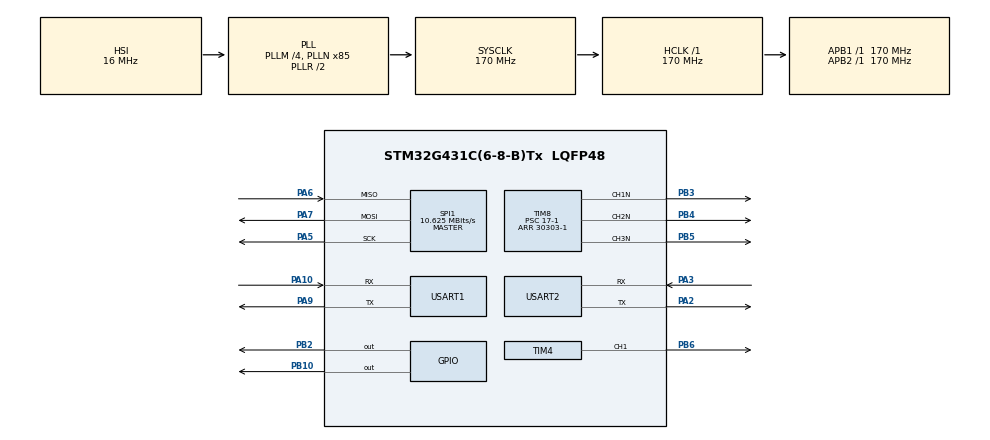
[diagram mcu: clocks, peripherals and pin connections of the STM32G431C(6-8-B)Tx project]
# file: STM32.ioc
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Dma.Request0=USART1_RX
Dma.USART1_RX.0.Direction=DMA_PERIPH_TO_MEMORY
Dma.USART1_RX.0.EventEnable=DISABLE
Dma.USART1_RX.0.Instance=DMA1_Channel1
Dma.USART1_RX.0.MemDataAlignment=DMA_MDATAALIGN_BYTE
Dma.USART1_RX.0.MemInc=DMA_MINC_ENABLE
Dma.USART1_RX.0.Mode=DMA_CIRCULAR
Dma.USART1_RX.0.PeriphDataAlignment=DMA_PDATAALIGN_BYTE
Dma.USART1_RX.0.PeriphInc=DMA_PINC_DISABLE
Dma.USART1_RX.0.Polarity=HAL_DMAMUX_REQ_GEN_RISING
Dma.USART1_RX.0.Priority=DMA_PRIORITY_LOW
Dma.USART1_RX.0.RequestNumber=1
Dma.USART1_RX.0.SignalID=NONE
Dma.USART1_RX.0.SyncEnable=DISABLE
Dma.USART1_RX.0.SyncPolarity=HAL_DMAMUX_SYNC_NO_EVENT
Dma.USART1_RX.0.SyncRequestNumber=1
Dma.USART1_RX.0.SyncSignalID=NONE
Mcu.Family=STM32G4
Mcu.Name=STM32G431C(6-8-B)Tx
Mcu.Package=LQFP48
NVIC.DMA1_Channel1_IRQn=true\:0\:0\:false\:false\:true\:false\:true\:true
NVIC.PriorityGroup=NVIC_PRIORITYGROUP_4
NVIC.USART1_IRQn=true\:0\:0\:false\:false\:true\:true\:true\:true
PA10.Mode=Asynchronous
PA10.Signal=USART1_RX
PA13.Mode=Serial_Wire
PA13.Signal=SYS_JTMS-SWDIO
PA14.Mode=Serial_Wire
PA14.Signal=SYS_JTCK-SWCLK
PA2.Mode=Asynchronous
PA2.Signal=USART2_TX
PA3.Mode=Asynchronous
PA3.Signal=USART2_RX
PA5.Mode=Full_Duplex_Master
PA5.Signal=SPI1_SCK
PA6.Mode=Full_Duplex_Master
PA6.Signal=SPI1_MISO
PA7.Mode=Full_Duplex_Master
PA7.Signal=SPI1_MOSI
PA9.Mode=Asynchronous
PA9.Signal=USART1_TX
PB10.Signal=GPIO_Output
PB2.Signal=GPIO_Output
PB3.Mode=PWM Generation1 CH1N
PB3.Signal=TIM8_CH1N
PB4.Mode=PWM Generation2 CH2N
PB4.Signal=TIM8_CH2N
PB5.Mode=PWM Generation3 CH3N
PB5.Signal=TIM8_CH3N
PB6.Signal=S_TIM4_CH1
PF0-OSC_IN.Mode=HSE-External-Oscillator
PF0-OSC_IN.Signal=RCC_OSC_IN
PF1-OSC_OUT.Mode=HSE-External-Oscillator
PF1-OSC_OUT.Signal=RCC_OSC_OUT
ProjectManager.HeapSize=0x200
ProjectManager.StackSize=0x400
ProjectManager.TargetToolchain=CMake
RCC.ADC12Freq_Value=170000000
RCC.AHBFreq_Value=170000000
RCC.APB1Freq_Value=170000000
RCC.APB1TimFreq_Value=170000000
RCC.APB2Freq_Value=170000000
RCC.APB2TimFreq_Value=170000000
RCC.CortexFreq_Value=170000000
RCC.EXTERNAL_CLOCK_VALUE=12288000
RCC.HCLKFreq_Value=170000000
RCC.HSE_VALUE=12000000
RCC.HSI48_VALUE=48000000
RCC.HSI_VALUE=16000000
RCC.LSE_VALUE=32768
RCC.PLLM=RCC_PLLM_DIV4
RCC.PLLN=85
RCC.SYSCLKFreq_VALUE=170000000
RCC.SYSCLKSource=RCC_SYSCLKSOURCE_PLLCLK
RCC.USBFreq_Value=170000000
RCC.VCOOutputFreq_Value=340000000
SH.S_TIM4_CH1.0=TIM4_CH1,PWM Generation1 CH1
SPI1.BaudRatePrescaler=SPI_BAUDRATEPRESCALER_16
SPI1.CalculateBaudRate=10.625 MBits/s
SPI1.DataSize=SPI_DATASIZE_8BIT
SPI1.Direction=SPI_DIRECTION_2LINES
SPI1.Mode=SPI_MODE_MASTER
SPI1.VirtualType=VM_MASTER
TIM4.Channel-PWM\ Generation1\ CH1=TIM_CHANNEL_1
TIM4.PeriodNoDither=30303-1
TIM4.Prescaler=17-1
TIM8.Channel-PWM\ Generation1\ CH1N=TIM_CHANNEL_1
TIM8.Channel-PWM\ Generation2\ CH2N=TIM_CHANNEL_2
TIM8.Channel-PWM\ Generation3\ CH3N=TIM_CHANNEL_3
TIM8.PeriodNoDither=30303-1
TIM8.Prescaler=17-1
USART1.VirtualMode-Asynchronous=VM_ASYNC
USART2.VirtualMode-Asynchronous=VM_ASYNC
VP_SYS_VS_DBSignals.Mode=DisableDeadBatterySignals
board=custom

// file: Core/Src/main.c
/* USER CODE BEGIN Header */
/**
  ******************************************************************************
  * @file           : main.c
  * @brief          : Main program body
  ******************************************************************************
  * @attention
  *
  * Copyright (c) 2026 STMicroelectronics.
  * All rights reserved.
  *
  * This software is licensed under terms that can be found in the LICENSE file
  * in the root directory of this software component.
  * If no LICENSE file comes with this software, it is provided AS-IS.
  *
  ******************************************************************************
  */
/* USER CODE END Header */
#include "main.h"
#include "dma.h"
#include "spi.h"
#include "tim.h"
#include "usart.h"
#include "gpio.h"

/* USER CODE BEGIN Includes */
#include "control_mixer.h"
#include "guidance_controller.h"
#include "guidance_planner.h"
#include "green_light_task.hpp"
#include "esp32_link.h"
#include "imu.h"
#include "interface.h"
#include "pixel_delta_pid_action.hpp"
#include "servo.h"
/* USER CODE END Includes */

/* USER CODE BEGIN PD */
#define GUIDANCE_TARGET_LOST_NO_UPDATE_TICKS 10U
/* USER CODE END PD */

/* USER CODE BEGIN PM */
/* 运行参数已回归到各模块 .h 宏定义：green_light_task.hpp / guidance_controller.h / imu.h / esp32_link.h / servo.h。 */
/* USER CODE END PM */

/* USER CODE BEGIN PV */
static GreenLightTaskProfile_t green_light_task_profile;
static GreenLightTask_t green_light_task;
static Esp32Link_t esp32_link;
static GuidanceTelemetry_t esp32_telemetry;
static GuidanceController_Config_t guidance_controller_config;
static GuidanceController_t guidance_controller;
static GuidancePlanner_t guidance_planner;
static ControlMixer_Config_t control_mixer_config;
static ControlMixer_t control_mixer;
static PixelDeltaPwmPidActionProfile_t pixel_delta_pid_profile;
static PixelDeltaPwmPidAction_t pixel_delta_pid_action;
static imu_t guidance_imu = {0};
static uint32_t guidance_last_loop_tick_ms;
static uint8_t guidance_target_no_update_ticks;
/* USER CODE END PV */

void SystemClock_Config(void);

/* USER CODE BEGIN 0 */
static uint32_t Guidance_IntegerSqrtU32(uint32_t value)
{
    uint32_t result = 0U;
    uint32_t bit = 1UL << 30;

    while (bit > value) {
        bit >>= 2;
    }

    while (bit != 0U) {
        if (value >= (result + bit)) {
            value -= result + bit;
            result = (result >> 1) + bit;
        } else {
            result >>= 1;
        }
        bit >>= 2;
    }

    return result;
}

static uint16_t GuidanceTelemetry_EstimateRadiusPx(const GuidanceMeasurement_t *measurement)
{
    uint32_t scaled_area;
    uint32_t radius_px;

    if ((measurement == NULL) ||
        (measurement->x == GUIDANCE_NO_TARGET_COORDINATE) ||
        (measurement->y == GUIDANCE_NO_TARGET_COORDINATE) ||
        (measurement->area == 0U)) {
        return 0U;
    }

    scaled_area = ((uint32_t)measurement->area * 1000U) / 3141U;
    radius_px = Guidance_IntegerSqrtU32(scaled_area);
    if (radius_px == 0U) {
        radius_px = 1U;
    }

    return (radius_px > 0xFFFFU) ? 0xFFFFU : (uint16_t)radius_px;
}

static void Guidance_ApplyMeasurementGeometry(uint16_t width, uint16_t height)
{
    if ((width == 0U) || (height == 0U)) {
        return;
    }

    green_light_task_profile.input.measurement_width = width;
    green_light_task_profile.input.measurement_height = height;

    guidance_controller_config.aim_config.image_width = width;
    guidance_controller_config.aim_config.image_height = height;
    guidance_controller.aim_config.image_width = width;
    guidance_controller.aim_config.image_height = height;
#if GREEN_LIGHT_TASK_SETPOINT_USE_IMAGE_CENTER
    green_light_task_profile.input.setpoint.x = (uint16_t)(width / 2U);
    green_light_task_profile.input.setpoint.y = (uint16_t)(height / 2U);
    guidance_controller.aim_config.setpoint_x = (uint16_t)(width / 2U);
    guidance_controller.aim_config.setpoint_y = (uint16_t)(height / 2U);
#endif
}

static void Guidance_PublishImuMotion(bool imu_data_valid)
{
    static uint8_t motion_pub_divider = 0U;
    float gx = 0.0f;
    float gy = 0.0f;
    float gz = 0.0f;
    float ax = 0.0f;
    float ay = 0.0f;
    float az = 0.0f;
    uint16_t dart_launch_counter_ticks = 0U;
    float dart_launch_velocity_x_dps = 0.0f;
    float dart_launch_velocity_y_dps = 0.0f;
    float dart_launch_velocity_z_dps = 0.0f;

    if (++motion_pub_divider < ESP32_LINK_IMU_MOTION_PUBLISH_DIVIDER) {
        return;
    }
    motion_pub_divider = 0U;

    if (imu_data_valid) {
        imu_get_gyro(&guidance_imu, &gx, &gy, &gz);
        imu_get_accel(&guidance_imu, &ax, &ay, &az);
        imu_get_dart_launch_velocity_sample(&guidance_imu,
                                            &dart_launch_counter_ticks,
                                            &dart_launch_velocity_x_dps,
                                            &dart_launch_velocity_y_dps,
                                            &dart_launch_velocity_z_dps);
    }
    (void)Esp32Link_PublishImuMotion(&esp32_link,
                                     gx,
                                     gy,
                                     gz,
                                     ax,
                                     ay,
                                     az);
    (void)Esp32Link_PublishDartLaunchSample(&esp32_link,
                                            dart_launch_counter_ticks,
                                            dart_launch_velocity_x_dps,
                                            dart_launch_velocity_y_dps,
                                            dart_launch_velocity_z_dps);
}

static bool Guidance_UpdateImuAndPublishMotion(void)
{
    GuidanceRelativeAttitudeError_t relative_attitude_error;

    if (imu_update(&guidance_imu) != HAL_OK) {
        relative_attitude_error.roll_deg = 0.0f;
        relative_attitude_error.pitch_deg = 0.0f;
        (void)GuidanceController_SetRelativeAttitudeError(&guidance_controller,
                                                          &relative_attitude_error);
        Guidance_PublishImuMotion(false);
        return false;
    }

    imu_get_relative_euler(&guidance_imu,
                           &relative_attitude_error.roll_deg,
                           &relative_attitude_error.pitch_deg,
                           NULL);
    (void)GuidanceController_SetRelativeAttitudeError(&guidance_controller,
                                                      &relative_attitude_error);
    Guidance_PublishImuMotion(true);
    return true;
}

static bool Guidance_CaptureStartupImageSize(uint32_t timeout_ms)
{
    uint32_t start_tick = HAL_GetTick();
    uint32_t last_motion_tick_ms = start_tick;
    UartReceiverMeasurement_t measurement;

    while ((uint32_t)(HAL_GetTick() - start_tick) < timeout_ms) {
        uint32_t now_ms = HAL_GetTick();
        if ((uint32_t)(now_ms - last_motion_tick_ms) >= GREEN_LIGHT_TASK_LOOP_PERIOD_MS) {
            last_motion_tick_ms = now_ms;
            (void)Guidance_UpdateImuAndPublishMotion();
        }

        if (uart_receiver_get_measurement(&measurement) && measurement.has_image_size) {
            Guidance_ApplyMeasurementGeometry(measurement.image_width, measurement.image_height);
            return true;
        }

        HAL_Delay(GREEN_LIGHT_TASK_IDLE_POLL_DELAY_MS);
    }

    return false;
}

/* USER CODE END 0 */

int main(void)
{

  /* MCU Configuration--------------------------------------------------------*/

  /* Reset of all peripherals, Initializes the Flash interface and the Systick. */
  HAL_Init();

  /* Configure the system clock */
  SystemClock_Config();

  /* Initialize all configured peripherals */
  MX_GPIO_Init();
  MX_DMA_Init();
  MX_TIM4_Init();
  MX_TIM8_Init();
  MX_SPI1_Init();
  MX_USART1_UART_Init();
  MX_USART2_UART_Init();
  /* USER CODE BEGIN 2 */
  Esp32Link_Init(&esp32_link, &huart2, ESP32_LINK_TX_TIMEOUT_MS);
  GreenLightTaskProfile_ResetOutput(&green_light_task_profile.output);
  GuidanceTargetSmoother_LoadDefaultConfig(&green_light_task_profile.params.measurement_smoother_config);
  GuidanceController_LoadDefaultConfig(&guidance_controller_config);
  ControlMixer_LoadDefaultConfig(&control_mixer_config);
  PixelDeltaPwmPidActionProfile_LoadDefault(&pixel_delta_pid_profile);
  pixel_delta_pid_profile.params.horizontal_pwm_pid_config =
      guidance_controller_config.horizontal_pwm_pid_config;
  pixel_delta_pid_profile.params.vertical_pwm_pid_config =
      guidance_controller_config.vertical_pwm_pid_config;
  GuidanceController_Init(&guidance_controller, &huart1, &guidance_controller_config);
  ControlMixer_Init(&control_mixer, &control_mixer_config);
  ControlMixer_ApplyOutputs(&control_mixer);
  Guidance_ApplyMeasurementGeometry(GREEN_LIGHT_TASK_DEFAULT_IMAGE_WIDTH,
                                    GREEN_LIGHT_TASK_DEFAULT_IMAGE_HEIGHT);
  (void)imu_attach(&guidance_imu, &hspi1, GUIDANCE_IMU_MAHONY_KP, GUIDANCE_IMU_MAHONY_KI);
  (void)Guidance_CaptureStartupImageSize(GREEN_LIGHT_TASK_STARTUP_IMAGE_SIZE_TIMEOUT_MS);
  green_light_task_profile.input.upstream_measurement.x = GUIDANCE_NO_TARGET_COORDINATE;
  green_light_task_profile.input.upstream_measurement.y = GUIDANCE_NO_TARGET_COORDINATE;
  green_light_task_profile.input.upstream_measurement.area = 0U;
  green_light_task_profile.input.upstream_measurement_ready = false;
#if GREEN_LIGHT_TASK_SETPOINT_USE_IMAGE_CENTER
  green_light_task_profile.input.setpoint.x = (uint16_t)(green_light_task_profile.input.measurement_width / 2U);
  green_light_task_profile.input.setpoint.y = (uint16_t)(green_light_task_profile.input.measurement_height / 2U);
#else
  green_light_task_profile.input.setpoint.x = GREEN_LIGHT_TASK_SETPOINT_X;
  green_light_task_profile.input.setpoint.y = GREEN_LIGHT_TASK_SETPOINT_Y;
#endif

  GreenLightTask_Init(&green_light_task, &green_light_task_profile);
  PixelDeltaPwmPidAction_Init(&pixel_delta_pid_action, &pixel_delta_pid_profile);
  GuidancePlanner_Init(&guidance_planner);
  guidance_last_loop_tick_ms = HAL_GetTick();
  guidance_target_no_update_ticks = 0U;
  /* USER CODE END 2 */

  /* Infinite loop */
  /* USER CODE BEGIN WHILE */
  while (1)
  {
    uint32_t now_ms;
    bool run_control_tick = false;
    /* USER CODE END WHILE */

    /* USER CODE BEGIN 3 */
    now_ms = HAL_GetTick();
    while ((uint32_t)(now_ms - guidance_last_loop_tick_ms) >= GREEN_LIGHT_TASK_LOOP_PERIOD_MS) {
      guidance_last_loop_tick_ms += GREEN_LIGHT_TASK_LOOP_PERIOD_MS;
      run_control_tick = true;
    }

    if (!run_control_tick) {
      HAL_Delay(GREEN_LIGHT_TASK_IDLE_POLL_DELAY_MS);
      continue;
    }

    {
      GuidancePlannerInput_t planner_input;
      const GuidancePlannerOutput_t *planner_output;
      TaskActionResult_t task_result;
      bool target_lost = false;
      bool imu_data_valid;
      uint16_t planner_setpoint_x;
      uint16_t planner_setpoint_y;
      UartReceiverMeasurement_t camera_measurement;

      imu_data_valid = Guidance_UpdateImuAndPublishMotion();

      green_light_task_profile.input.upstream_measurement_ready =
          uart_receiver_get_measurement(&camera_measurement);
      if (green_light_task_profile.input.upstream_measurement_ready) {
        green_light_task_profile.input.upstream_measurement.x = camera_measurement.x;
        green_light_task_profile.input.upstream_measurement.y = camera_measurement.y;
        green_light_task_profile.input.upstream_measurement.area = camera_measurement.area;
        if (camera_measurement.has_image_size) {
          Guidance_ApplyMeasurementGeometry(camera_measurement.image_width,
                                            camera_measurement.image_height);
        }
      } else {
        green_light_task_profile.input.upstream_measurement.x = GUIDANCE_NO_TARGET_COORDINATE;
        green_light_task_profile.input.upstream_measurement.y = GUIDANCE_NO_TARGET_COORDINATE;
        green_light_task_profile.input.upstream_measurement.area = 0U;
      }

      task_result = GreenLightTask_Tick(&green_light_task);

      planner_input.imu_data_valid = imu_data_valid;
      planner_input.accel_x_g = guidance_imu.accel_x;
      planner_input.accel_y_g = guidance_imu.accel_y;
      planner_input.accel_z_g = guidance_imu.accel_z;
      planner_input.gyro_x_dps = 0.0f;
      planner_input.gyro_y_dps = 0.0f;
      planner_input.gyro_z_dps = 0.0f;
      if (imu_data_valid) {
        imu_get_gyro(&guidance_imu,
                     &planner_input.gyro_x_dps,
                     &planner_input.gyro_y_dps,
                     &planner_input.gyro_z_dps);
      }
      planner_input.accel_axis = guidance_imu.config.dart_launch_accel_axis;
      planner_input.accel_threshold_mps2 =
          guidance_imu.config.dart_launch_accel_threshold_mps2;
      planner_input.target_delta = green_light_task_profile.output.delta;
      planner_input.target_detected =
          ((task_result == TASK_ACTION_SUCCESS) && green_light_task_profile.output.target_detected);
      planner_input.yaw_recovery_delta = planner_input.target_delta;
      planner_input.yaw_recovery_target_available = planner_input.target_detected;
      if (!planner_input.yaw_recovery_target_available &&
          green_light_task.has_last_valid_measurement) {
        planner_setpoint_x = green_light_task_profile.input.setpoint.x;
        planner_setpoint_y = green_light_task_profile.input.setpoint.y;
        if (planner_setpoint_x == GUIDANCE_NO_TARGET_COORDINATE) {
          planner_setpoint_x =
              (uint16_t)(green_light_task_profile.input.measurement_width / 2U);
        }
        if (planner_setpoint_y == GUIDANCE_NO_TARGET_COORDINATE) {
          planner_setpoint_y =
              (uint16_t)(green_light_task_profile.input.measurement_height / 2U);
        }
        planner_input.yaw_recovery_delta.delta_x =
            (int16_t)((int32_t)green_light_task.last_valid_measurement.x -
                      (int32_t)planner_setpoint_x);
        planner_input.yaw_recovery_delta.delta_y =
            (int16_t)((int32_t)planner_setpoint_y -
                      (int32_t)green_light_task.last_valid_measurement.y);
        planner_input.yaw_recovery_target_available = true;
      }
      (void)GuidancePlanner_Tick(&guidance_planner, &planner_input);
      planner_output = &guidance_planner.output;

      if (!planner_output->default_pid_task_enabled) {
        if (planner_output->timed_turn_started ||
            planner_output->yaw_recovery_started ||
            planner_output->flight_end_detected) {
          PixelDeltaPwmPidAction_Reset(&pixel_delta_pid_action);
          guidance_target_no_update_ticks = GUIDANCE_TARGET_LOST_NO_UPDATE_TICKS;
        }
        ControlMixer_ClearContribution(&control_mixer);
        if (planner_output->override_pwm_active &&
            (planner_output->override_pulse_us != NULL)) {
          control_mixer.output_pulse_us = *planner_output->override_pulse_us;
        } else if (planner_output->override_contribution != NULL) {
          ControlMixer_SetContribution(&control_mixer,
                                       planner_output->override_contribution);
          ControlMixer_Solve(&control_mixer);
        } else {
          ControlMixer_Solve(&control_mixer);
        }
        ControlMixer_ApplyOutputs(&control_mixer);
        continue;
      }

      pixel_delta_pid_profile.params.horizontal_pwm_pid_config =
          guidance_controller_config.horizontal_pwm_pid_config;
      pixel_delta_pid_profile.params.vertical_pwm_pid_config =
          guidance_controller_config.vertical_pwm_pid_config;
      pixel_delta_pid_profile.params.output_limit_us = GUIDANCE_HORIZONTAL_PID_OUTPUT_LIMIT_US;
      pixel_delta_pid_profile.params.vertical_output_limit_us = GUIDANCE_VERTICAL_PID_OUTPUT_LIMIT_US;

      if ((task_result == TASK_ACTION_SUCCESS) && green_light_task_profile.output.target_detected) {
        TaskActionResult_t control_result;

        guidance_target_no_update_ticks = 0U;
        pixel_delta_pid_profile.input.target_delta = green_light_task_profile.output.delta;
        pixel_delta_pid_profile.input.target_detected = true;

        if (guidance_controller_config.control_mode == GUIDANCE_CONTROL_MODE_HORIZONTAL_PWM_PID) {
          control_result = PixelDeltaPwmPidAction_Tick(&pixel_delta_pid_action);
          if (control_result == TASK_ACTION_FAILURE) {
            PixelDeltaPwmPidAction_Reset(&pixel_delta_pid_action);
            ControlMixer_ClearContribution(&control_mixer);
          } else {
            ControlMixer_SetContribution(&control_mixer,
                                         &pixel_delta_pid_profile.output.contribution);
          }
          ControlMixer_Solve(&control_mixer);
          ControlMixer_ApplyOutputs(&control_mixer);
        } else {
          PixelDeltaPwmPidAction_Reset(&pixel_delta_pid_action);
          ControlMixer_ClearContribution(&control_mixer);
          ControlMixer_Solve(&control_mixer);
          ControlMixer_ApplyOutputs(&control_mixer);
        }
      } else {
        target_lost = (task_result == TASK_ACTION_FAILURE);

        if (task_result == TASK_ACTION_RUNNING) {
          if (guidance_target_no_update_ticks < GUIDANCE_TARGET_LOST_NO_UPDATE_TICKS) {
            guidance_target_no_update_ticks += 1U;
          }
          target_lost = (guidance_target_no_update_ticks >= GUIDANCE_TARGET_LOST_NO_UPDATE_TICKS);
        } else {
          guidance_target_no_update_ticks = GUIDANCE_TARGET_LOST_NO_UPDATE_TICKS;
          target_lost = true;
        }

        if ((guidance_controller_config.control_mode != GUIDANCE_CONTROL_MODE_HORIZONTAL_PWM_PID) ||
            target_lost) {
          PixelDeltaPwmPidAction_Reset(&pixel_delta_pid_action);
          ControlMixer_ClearContribution(&control_mixer);
          ControlMixer_Solve(&control_mixer);
          ControlMixer_ApplyOutputs(&control_mixer);
        }
      }

      if ((task_result != TASK_ACTION_RUNNING) || target_lost) {
        esp32_telemetry.measurement = green_light_task_profile.output.measurement;
        esp32_telemetry.setpoint = green_light_task_profile.input.setpoint;
        esp32_telemetry.delta = green_light_task_profile.output.delta;
        esp32_telemetry.image_width = green_light_task_profile.input.measurement_width;
        esp32_telemetry.image_height = green_light_task_profile.input.measurement_height;
        esp32_telemetry.measurement_radius_px =
            GuidanceTelemetry_EstimateRadiusPx(&green_light_task_profile.output.measurement);
        esp32_telemetry.relative_attitude_error = guidance_controller.relative_attitude_error;
        esp32_telemetry.target_detected = green_light_task_profile.output.target_detected;
        esp32_telemetry.task_finished = true;
        esp32_telemetry.task_success = ((task_result == TASK_ACTION_SUCCESS) && !target_lost);
        (void)Esp32Link_PublishGuidanceTelemetry(&esp32_link, &esp32_telemetry);
      }
    }
  }
  /* USER CODE END 3 */
}

void SystemClock_Config(void)
{
  RCC_OscInitTypeDef RCC_OscInitStruct = {0};
  RCC_ClkInitTypeDef RCC_ClkInitStruct = {0};

  /** Configure the main internal regulator output voltage
  */
  HAL_PWREx_ControlVoltageScaling(PWR_REGULATOR_VOLTAGE_SCALE1_BOOST);

  /** Initializes the RCC_Oscillators according to the specified parameters
  * in the RCC_OscInitTypeDef structure.
  */
  RCC_OscInitStruct.OscillatorType = RCC_OSCILLATORTYPE_HSI;
  RCC_OscInitStruct.HSIState = RCC_HSI_ON;
  RCC_OscInitStruct.HSICalibrationValue = RCC_HSICALIBRATION_DEFAULT;
  RCC_OscInitStruct.PLL.PLLState = RCC_PLL_ON;
  RCC_OscInitStruct.PLL.PLLSource = RCC_PLLSOURCE_HSI;
  RCC_OscInitStruct.PLL.PLLM = RCC_PLLM_DIV4;
  RCC_OscInitStruct.PLL.PLLN = 85;
  RCC_OscInitStruct.PLL.PLLP = RCC_PLLP_DIV2;
  RCC_OscInitStruct.PLL.PLLQ = RCC_PLLQ_DIV2;
  RCC_OscInitStruct.PLL.PLLR = RCC_PLLR_DIV2;
  if (HAL_RCC_OscConfig(&RCC_OscInitStruct) != HAL_OK)
  {
    Error_Handler();
  }

  /** Initializes the CPU, AHB and APB buses clocks
  */
  RCC_ClkInitStruct.ClockType = RCC_CLOCKTYPE_HCLK|RCC_CLOCKTYPE_SYSCLK
                              |RCC_CLOCKTYPE_PCLK1|RCC_CLOCKTYPE_PCLK2;
  RCC_ClkInitStruct.SYSCLKSource = RCC_SYSCLKSOURCE_PLLCLK;
  RCC_ClkInitStruct.AHBCLKDivider = RCC_SYSCLK_DIV1;
  RCC_ClkInitStruct.APB1CLKDivider = RCC_HCLK_DIV1;
  RCC_ClkInitStruct.APB2CLKDivider = RCC_HCLK_DIV1;

  if (HAL_RCC_ClockConfig(&RCC_ClkInitStruct, FLASH_LATENCY_4) != HAL_OK)
  {
    Error_Handler();
  }
}

void Error_Handler(void)
{
  /* USER CODE BEGIN Error_Handler_Debug */
  /* User can add his own implementation to report the HAL error return state */
  const float error_servo_pulse_us[SERVO_COUNT] = {
    1700U,
    1700U,
    1700U,
    1700U
  };

  __disable_irq();
  while (1)
  {
    Servo_SetPulseUsBatch(error_servo_pulse_us);
  }
  /* USER CODE END Error_Handler_Debug */
}
